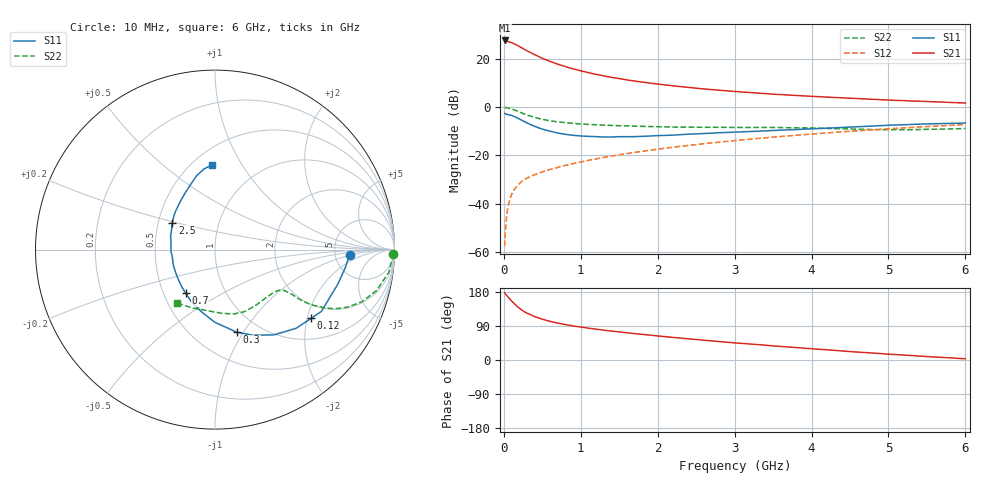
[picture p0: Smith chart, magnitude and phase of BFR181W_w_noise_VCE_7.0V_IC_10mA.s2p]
! Infineon Technologies  Discrete & RF Semiconductors
! BFR181W
! VCE =  7.0 V,  IC =  10 mA
! Common Emitter S-Parameters:  Jan 2017
# GHz  S  MA  R  50
!  f  S11  S21  S12  S22
! GHz  MAG  ANG  MAG  ANG  MAG  ANG  MAG  ANG
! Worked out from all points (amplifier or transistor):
!   77 points, 10 MHz to 6 GHz, reference 50 ohm
!   highest |S21| = 27.8 dB at 10 MHz (marker M1)
!   |S21| within 3 dB of that: start of sweep to 228.9 MHz
!   unconditionally stable (mu >= 1): 1.045 GHz to 3.02 GHz
!   at 130 MHz: K = 0.27, MSG = 30.5 dB, |S12| = -34.5 dB
!   at 2.2 GHz: K = 1.05, MAG = 11.4 dB, |S12| = -16.6 dB
!   at 6 GHz: K = 0.85, MSG = 4.5 dB, |S12| = -7.1 dB
!   lowest NFmin = 1.24 dB at 450 MHz
!   S11 on the Smith chart (normalised r, x): 10 MHz: 6.89, -0.86; 120 MHz: 1.57, -2.12; 300 MHz: 0.79, -0.94; 700 MHz: 0.65, -0.34; 2.5 GHz: 0.59, +0.19; 6 GHz: 0.62, +0.75
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0.01  0.7499 -2.1  24.64 177.5  0.0013 93.0  0.9935 -1.4
0.02  0.734 -7.5  24.23 174.3  0.0025 92.8  0.9895 -2.8
0.05  0.7118 -15.4  23.64 167.4  0.0079 84.4  0.9762 -7.5
0.1  0.6855 -30.2  22.19 155.8  0.0154 74.8  0.9279 -14.3
0.12  0.6587 -35.5  21.41 152.0  0.0178 73.1  0.9029 -16.3
0.15  0.6299 -44.1  20.45 145.7  0.0213 71.3  0.8676 -19.6
0.2  0.5778 -55.3  18.49 136.8  0.0256 68.5  0.8046 -23.5
0.25  0.5224 -66.0  16.73 129.6  0.0308 64.4  0.7468 -26.2
0.3  0.4761 -75.2  15.07 123.6  0.0337 63.2  0.6951 -27.9
0.4  0.4053 -90.1  12.48 114.4  0.0398 61.8  0.6187 -29.8
0.5  0.3532 -102.7  10.51 107.6  0.0455 61.7  0.5648 -30.4
0.6  0.3202 -113.9  9.057 102.0  0.0511 62.1  0.527 -30.4
0.7  0.2933 -123.9  7.916 97.5  0.0563 63.5  0.4997 -30.2
0.9  0.2628 -141.4  6.325 90.0  0.0676 64.6  0.465 -30.4
1.1  0.2496 -155.6  5.274 84.1  0.079 66.0  0.4432 -30.8
1.5  0.2459 -177.8  3.959 74.1  0.1032 67.1  0.4155 -33.6
2.1  0.2616 159.2  2.927 61.6  0.1416 66.6  0.3937 -41.2
2.5  0.2813 147.8  2.51 54.1  0.1688 65.3  0.3868 -47.8
3.1  0.31 133.9  2.089 43.8  0.2108 62.5  0.3827 -58.0
4.1  0.3636 115.9  1.667 28.3  0.2864 56.1  0.3693 -75.7
5.1  0.4304 102.5  1.4 14.2  0.3661 48.1  0.3424 -100.4
6  0.4723 92.0  1.232 3.2  0.4399 39.7  0.3635 -125.1
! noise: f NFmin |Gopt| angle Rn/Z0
0.45  1.24  0.15  16  0.21
0.9  1.29  0.14  31  0.21
1.9  1.71  0.03  142  0.2
2.4  1.88  0.02  -166  0.24
